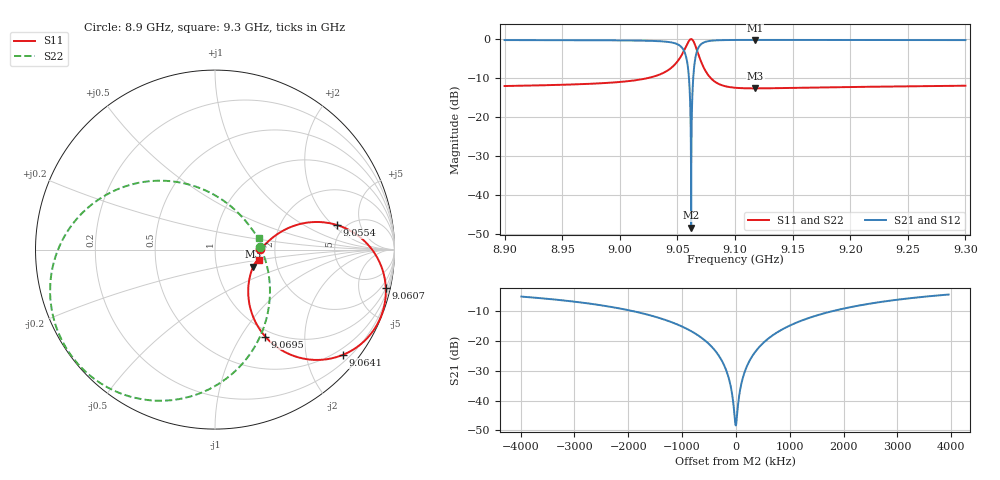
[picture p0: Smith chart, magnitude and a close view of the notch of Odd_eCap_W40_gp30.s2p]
! Sonnet Data File
! From: emgraph Version : 16.52
! From Project: Resonator2_extremeCap2
! Data is De-embedded
! Data File Written: 10/11/2017 16:32:17
!< HDATE 10/11/2017 09:31:16
!< MDATE 10/11/2017 09:31:16
!< PARAMS
!< Pwid1 = 2000.0
!< Pwid2 = 2000.0
!< Air_gap = 24.0
!< Width = 40.0
!< Gap = 30.0
!< END PARAMS
# GHZ S MA R 45.40000
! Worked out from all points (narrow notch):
!   2194 points, 8.9 GHz to 9.3 GHz, reference 45.4 ohm
!   highest |S21| = -0.24 dB at 9.1173 GHz (marker M1); lowest = -48.3 dB at 9.0619 GHz (marker M2)
!   notch at M2: 48.0 dB deep, 673 kHz wide at half that depth
!   lowest |S11| = -12.7 dB at 9.1175 GHz (marker M3), VSWR 1.61, Z = 68.3 - j13.7 ohm
!   |S11| at or under -10 dB: start of sweep to 9.0245 GHz; 9.0789 GHz to end of sweep
!   |S22| runs from -12.7 to 0.0 dB; largest |S21 - S12| = 0
!   S11 on the Smith chart (normalised r, x): 8.9 GHz: 1.67, +0.02; 9.0554 GHz: 4.30, +2.27; 9.0607 GHz: 1.00, -8.86; 9.0641 GHz: 0.35, -2.75; 9.0695 GHz: 0.91, -1.29; 9.3 GHz: 1.64, -0.19
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8.9  0.2498 1.0  0.9683 -87.7  0.9683 -87.7  0.2498 3.5
!< P1 F=8.9 Eeff=(5.09096395 -2.214e-5) Z0=(45.4059169 1.00354e-4) R=0.0 C=0.0
!< P2 F=8.9 Eeff=(5.09096395 -2.214e-5) Z0=(45.4059169 1.00354e-4) R=0.0 C=0.0
8.96675  0.264 3.2  0.9645 -89.8  0.9645 -89.8  0.264 -2.8
9.0335  0.3455 13.1  0.9383 -97.8  0.9383 -97.8  0.3454 -28.8
9.046977  0.4581 16.8  0.8886 -106.5  0.8886 -106.5  0.4576 -50.0
9.055442  0.6947 11.3  0.7177 -124.9  0.7177 -124.9  0.6938 -81.5
9.05875  0.8762 -0.1  0.4776 -142.9  0.4776 -142.9  0.8748 -106.4
9.060744  0.9755 -12.7  0.2069 -159.4  0.2069 -159.4  0.9738 -128.0
9.061603  0.9952 -19.4  0.06028 -165.6  0.06028 -165.6  0.9934 -138.8
9.06175  0.9964 -20.6  0.03402 -164.3  0.03402 -164.3  0.9946 -140.8
9.06194  0.997 -22.2  0.003833 -75.8  0.003833 -75.8  0.9952 -143.2
9.062161  0.9961 -24.0  0.04067 -0.5  0.04067 -0.5  0.9943 -146.1
9.062501  0.9917 -26.8  0.1024 -0.9  0.1024 -0.9  0.9899 -150.6
9.064124  0.9228 -39.5  0.3781 -16.1  0.3781 -16.1  0.9211 -171.7
9.066564  0.7462 -53.0  0.6629 -35.9  0.6629 -35.9  0.7447 161.7
9.06954  0.56 -60.0  0.8272 -51.1  0.8272 -51.1  0.5588 138.0
9.079251  0.3122 -53.6  0.9497 -70.4  0.9497 -70.4  0.3117 92.9
9.1  0.2374 -32.2  0.9713 -80.1  0.9713 -80.1  0.2373 52.0
9.11725  0.233 -24.2  0.9724 -82.8  0.9724 -82.8  0.2329 38.6
9.1175  0.233 -24.1  0.9724 -82.8  0.9724 -82.8  0.2329 38.4
9.16675  0.2385 -16.1  0.9711 -86.0  0.9711 -86.0  0.2385 24.1
9.2335  0.246 -13.4  0.9692 -87.9  0.9692 -87.9  0.246 17.5
9.3  0.252 -12.7  0.9677 -89.2  0.9677 -89.2  0.252 14.3
